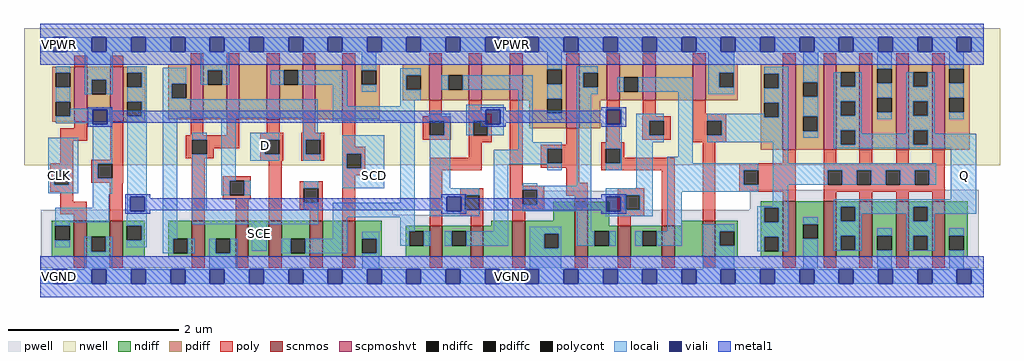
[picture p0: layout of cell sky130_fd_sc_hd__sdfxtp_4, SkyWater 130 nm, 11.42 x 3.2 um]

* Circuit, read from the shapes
.subckt sky130_fd_sc_hd__sdfxtp_4 CLK D SCD SCE VGND VNB VPB VPWR Q
XM1 VGND CLK n1 VNB sky130_fd_pr__nfet_01v8 w=0.42 l=0.15
XM2 n2 n1 VGND VNB sky130_fd_pr__nfet_01v8 w=0.42 l=0.15
XM3 VGND SCE n3 VNB sky130_fd_pr__nfet_01v8 w=0.42 l=0.15
XM4 n4 n3 VGND VNB sky130_fd_pr__nfet_01v8 w=0.42 l=0.15
XM5 n5 D n4 VNB sky130_fd_pr__nfet_01v8 w=0.42 l=0.15
XM6 n6 SCE n5 VNB sky130_fd_pr__nfet_01v8 w=0.42 l=0.15
XM7 VGND SCD n6 VNB sky130_fd_pr__nfet_01v8 w=0.42 l=0.15
XM8 n7 n1 n5 VNB sky130_fd_pr__nfet_01v8 w=0.36 l=0.15
XM9 n8 n2 n7 VNB sky130_fd_pr__nfet_01v8 w=0.36 l=0.15
XM10 VGND n9 n8 VNB sky130_fd_pr__nfet_01v8 w=0.42 l=0.15
XM11 n9 n7 VGND VNB sky130_fd_pr__nfet_01v8 w=0.64 l=0.15
XM12 n10 n2 n9 VNB sky130_fd_pr__nfet_01v8 w=0.36 l=0.15
XM13 n11 n1 n10 VNB sky130_fd_pr__nfet_01v8 w=0.36 l=0.15
XM14 VGND n12 n11 VNB sky130_fd_pr__nfet_01v8 w=0.42 l=0.15
XM15 VGND n10 n12 VNB sky130_fd_pr__nfet_01v8 w=0.65 l=0.15
XM16 Q n12 VGND VNB sky130_fd_pr__nfet_01v8 w=0.65 l=0.15 m=4
XM17 VPWR CLK n1 VPB sky130_fd_pr__pfet_01v8_hvt w=0.64 l=0.15
XM18 n2 n1 VPWR VPB sky130_fd_pr__pfet_01v8_hvt w=0.64 l=0.15
XM19 VPWR SCE n3 VPB sky130_fd_pr__pfet_01v8_hvt w=0.64 l=0.15
XM20 n13 SCE VPWR VPB sky130_fd_pr__pfet_01v8_hvt w=0.64 l=0.15
XM21 n5 D n13 VPB sky130_fd_pr__pfet_01v8_hvt w=0.64 l=0.15
XM22 n14 n3 n5 VPB sky130_fd_pr__pfet_01v8_hvt w=0.64 l=0.15
XM23 VPWR SCD n14 VPB sky130_fd_pr__pfet_01v8_hvt w=0.64 l=0.15
XM24 n7 n2 n5 VPB sky130_fd_pr__pfet_01v8_hvt w=0.42 l=0.15
XM25 n15 n1 n7 VPB sky130_fd_pr__pfet_01v8_hvt w=0.42 l=0.15
XM26 VPWR n9 n15 VPB sky130_fd_pr__pfet_01v8_hvt w=0.42 l=0.15
XM27 n9 n7 VPWR VPB sky130_fd_pr__pfet_01v8_hvt w=0.75 l=0.15
XM28 n10 n1 n9 VPB sky130_fd_pr__pfet_01v8_hvt w=0.42 l=0.15
XM29 n16 n2 n10 VPB sky130_fd_pr__pfet_01v8_hvt w=0.42 l=0.15
XM30 VPWR n12 n16 VPB sky130_fd_pr__pfet_01v8_hvt w=0.42 l=0.15
XM31 VPWR n10 n12 VPB sky130_fd_pr__pfet_01v8_hvt w=1 l=0.15
XM32 Q n12 VPWR VPB sky130_fd_pr__pfet_01v8_hvt w=1 l=0.15 m=4
.ends

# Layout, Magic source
magic
tech sky130A
magscale 1 2
<< nwell >>
rect -38 261 2246 582
<< pwell >>
rect 1175 157 1357 201
rect 1660 157 2196 203
rect 1 145 825 157
rect 1029 145 2196 157
rect 1 21 2196 145
rect 29 -17 63 21
<< scnmos >>
rect 79 47 109 131
rect 163 47 193 131
rect 355 47 385 131
rect 457 47 487 131
rect 535 47 565 131
rect 631 47 661 131
rect 707 47 737 131
rect 911 47 941 119
rect 1007 47 1037 119
rect 1105 47 1135 131
rect 1251 47 1281 175
rect 1352 47 1382 119
rect 1455 47 1485 119
rect 1550 47 1580 131
rect 1738 47 1768 177
rect 1833 47 1863 177
rect 1917 47 1947 177
rect 2003 47 2033 177
rect 2087 47 2117 177
<< scpmoshvt >>
rect 80 363 110 491
rect 164 363 194 491
rect 352 369 382 497
rect 436 369 466 497
rect 530 369 560 497
rect 614 369 644 497
rect 707 369 737 497
rect 910 413 940 497
rect 1003 413 1033 497
rect 1099 413 1129 497
rect 1231 347 1261 497
rect 1326 413 1356 497
rect 1410 413 1440 497
rect 1527 413 1557 497
rect 1738 297 1768 497
rect 1833 297 1863 497
rect 1917 297 1947 497
rect 2003 297 2033 497
rect 2087 297 2117 497
<< ndiff >>
rect 27 119 79 131
rect 27 85 35 119
rect 69 85 79 119
rect 27 47 79 85
rect 109 93 163 131
rect 109 59 119 93
rect 153 59 163 93
rect 109 47 163 59
rect 193 119 245 131
rect 193 85 203 119
rect 237 85 245 119
rect 193 47 245 85
rect 299 89 355 131
rect 299 55 311 89
rect 345 55 355 89
rect 299 47 355 55
rect 385 89 457 131
rect 385 55 411 89
rect 445 55 457 89
rect 385 47 457 55
rect 487 47 535 131
rect 565 89 631 131
rect 565 55 586 89
rect 620 55 631 89
rect 565 47 631 55
rect 661 47 707 131
rect 737 89 799 131
rect 1201 131 1251 175
rect 1055 119 1105 131
rect 737 55 753 89
rect 787 55 799 89
rect 737 47 799 55
rect 855 107 911 119
rect 855 73 863 107
rect 897 73 911 107
rect 855 47 911 73
rect 941 107 1007 119
rect 941 73 963 107
rect 997 73 1007 107
rect 941 47 1007 73
rect 1037 47 1105 119
rect 1135 101 1251 131
rect 1135 67 1179 101
rect 1213 67 1251 101
rect 1135 47 1251 67
rect 1281 119 1331 175
rect 1686 162 1738 177
rect 1500 119 1550 131
rect 1281 107 1352 119
rect 1281 73 1297 107
rect 1331 73 1352 107
rect 1281 47 1352 73
rect 1382 107 1455 119
rect 1382 73 1409 107
rect 1443 73 1455 107
rect 1382 47 1455 73
rect 1485 47 1550 119
rect 1580 107 1632 131
rect 1580 73 1590 107
rect 1624 73 1632 107
rect 1580 47 1632 73
rect 1686 128 1694 162
rect 1728 128 1738 162
rect 1686 94 1738 128
rect 1686 60 1694 94
rect 1728 60 1738 94
rect 1686 47 1738 60
rect 1768 123 1833 177
rect 1768 89 1785 123
rect 1819 89 1833 123
rect 1768 47 1833 89
rect 1863 164 1917 177
rect 1863 130 1873 164
rect 1907 130 1917 164
rect 1863 96 1917 130
rect 1863 62 1873 96
rect 1907 62 1917 96
rect 1863 47 1917 62
rect 1947 96 2003 177
rect 1947 62 1959 96
rect 1993 62 2003 96
rect 1947 47 2003 62
rect 2033 164 2087 177
rect 2033 130 2043 164
rect 2077 130 2087 164
rect 2033 96 2087 130
rect 2033 62 2043 96
rect 2077 62 2087 96
rect 2033 47 2087 62
rect 2117 96 2170 177
rect 2117 62 2127 96
rect 2161 62 2170 96
rect 2117 47 2170 62
<< pdiff >>
rect 28 477 80 491
rect 28 443 36 477
rect 70 443 80 477
rect 28 409 80 443
rect 28 375 36 409
rect 70 375 80 409
rect 28 363 80 375
rect 110 461 164 491
rect 110 427 120 461
rect 154 427 164 461
rect 110 363 164 427
rect 194 477 246 491
rect 194 443 204 477
rect 238 443 246 477
rect 194 409 246 443
rect 194 375 204 409
rect 238 375 246 409
rect 194 363 246 375
rect 300 452 352 497
rect 300 418 308 452
rect 342 418 352 452
rect 300 369 352 418
rect 382 483 436 497
rect 382 449 392 483
rect 426 449 436 483
rect 382 369 436 449
rect 466 369 530 497
rect 560 483 614 497
rect 560 449 570 483
rect 604 449 614 483
rect 560 369 614 449
rect 644 369 707 497
rect 737 483 794 497
rect 737 449 752 483
rect 786 449 794 483
rect 737 369 794 449
rect 848 472 910 497
rect 848 438 856 472
rect 890 438 910 472
rect 848 413 910 438
rect 940 472 1003 497
rect 940 438 955 472
rect 989 438 1003 472
rect 940 413 1003 438
rect 1033 413 1099 497
rect 1129 485 1231 497
rect 1129 451 1187 485
rect 1221 451 1231 485
rect 1129 417 1231 451
rect 1129 413 1187 417
rect 1144 383 1187 413
rect 1221 383 1231 417
rect 1144 347 1231 383
rect 1261 477 1326 497
rect 1261 443 1271 477
rect 1305 443 1326 477
rect 1261 413 1326 443
rect 1356 467 1410 497
rect 1356 433 1366 467
rect 1400 433 1410 467
rect 1356 413 1410 433
rect 1440 413 1527 497
rect 1557 477 1632 497
rect 1557 443 1589 477
rect 1623 443 1632 477
rect 1557 413 1632 443
rect 1686 475 1738 497
rect 1686 441 1694 475
rect 1728 441 1738 475
rect 1261 347 1311 413
rect 1686 407 1738 441
rect 1686 373 1694 407
rect 1728 373 1738 407
rect 1686 297 1738 373
rect 1768 455 1833 497
rect 1768 421 1785 455
rect 1819 421 1833 455
rect 1768 375 1833 421
rect 1768 341 1785 375
rect 1819 341 1833 375
rect 1768 297 1833 341
rect 1863 479 1917 497
rect 1863 445 1873 479
rect 1907 445 1917 479
rect 1863 411 1917 445
rect 1863 377 1873 411
rect 1907 377 1917 411
rect 1863 343 1917 377
rect 1863 309 1873 343
rect 1907 309 1917 343
rect 1863 297 1917 309
rect 1947 487 2003 497
rect 1947 453 1959 487
rect 1993 453 2003 487
rect 1947 419 2003 453
rect 1947 385 1959 419
rect 1993 385 2003 419
rect 1947 297 2003 385
rect 2033 479 2087 497
rect 2033 445 2043 479
rect 2077 445 2087 479
rect 2033 411 2087 445
rect 2033 377 2043 411
rect 2077 377 2087 411
rect 2033 343 2087 377
rect 2033 309 2043 343
rect 2077 309 2087 343
rect 2033 297 2087 309
rect 2117 487 2175 497
rect 2117 453 2127 487
rect 2161 453 2175 487
rect 2117 419 2175 453
rect 2117 385 2127 419
rect 2161 385 2175 419
rect 2117 297 2175 385
<< ndiffc >>
rect 35 85 69 119
rect 119 59 153 93
rect 203 85 237 119
rect 311 55 345 89
rect 411 55 445 89
rect 586 55 620 89
rect 753 55 787 89
rect 863 73 897 107
rect 963 73 997 107
rect 1179 67 1213 101
rect 1297 73 1331 107
rect 1409 73 1443 107
rect 1590 73 1624 107
rect 1694 128 1728 162
rect 1694 60 1728 94
rect 1785 89 1819 123
rect 1873 130 1907 164
rect 1873 62 1907 96
rect 1959 62 1993 96
rect 2043 130 2077 164
rect 2043 62 2077 96
rect 2127 62 2161 96
<< pdiffc >>
rect 36 443 70 477
rect 36 375 70 409
rect 120 427 154 461
rect 204 443 238 477
rect 204 375 238 409
rect 308 418 342 452
rect 392 449 426 483
rect 570 449 604 483
rect 752 449 786 483
rect 856 438 890 472
rect 955 438 989 472
rect 1187 451 1221 485
rect 1187 383 1221 417
rect 1271 443 1305 477
rect 1366 433 1400 467
rect 1589 443 1623 477
rect 1694 441 1728 475
rect 1694 373 1728 407
rect 1785 421 1819 455
rect 1785 341 1819 375
rect 1873 445 1907 479
rect 1873 377 1907 411
rect 1873 309 1907 343
rect 1959 453 1993 487
rect 1959 385 1993 419
rect 2043 445 2077 479
rect 2043 377 2077 411
rect 2043 309 2077 343
rect 2127 453 2161 487
rect 2127 385 2161 419
<< poly >>
rect 80 491 110 517
rect 164 491 194 517
rect 352 497 382 523
rect 436 497 466 523
rect 530 497 560 523
rect 614 497 644 523
rect 707 497 737 523
rect 910 497 940 523
rect 1003 497 1033 523
rect 1099 497 1129 523
rect 1231 497 1261 523
rect 1326 497 1356 523
rect 1410 497 1440 523
rect 1527 497 1557 523
rect 1738 497 1768 523
rect 1833 497 1863 523
rect 1917 497 1947 523
rect 2003 497 2033 523
rect 2087 497 2117 523
rect 910 375 940 413
rect 1003 381 1033 413
rect 80 348 110 363
rect 47 318 110 348
rect 47 265 77 318
rect 164 274 194 363
rect 352 331 382 369
rect 436 331 466 369
rect 530 337 560 369
rect 614 337 644 369
rect 340 321 466 331
rect 340 287 356 321
rect 390 301 466 321
rect 515 321 569 337
rect 390 287 406 301
rect 340 277 406 287
rect 515 287 525 321
rect 559 287 569 321
rect 23 249 77 265
rect 23 215 33 249
rect 67 215 77 249
rect 119 264 194 274
rect 119 230 135 264
rect 169 230 194 264
rect 119 220 194 230
rect 23 199 77 215
rect 47 176 77 199
rect 47 146 109 176
rect 79 131 109 146
rect 163 131 193 220
rect 355 131 385 277
rect 515 271 569 287
rect 611 321 665 337
rect 611 287 621 321
rect 655 287 665 321
rect 611 271 665 287
rect 707 304 737 369
rect 895 365 961 375
rect 895 331 911 365
rect 945 331 961 365
rect 895 321 961 331
rect 1003 365 1057 381
rect 1003 331 1013 365
rect 1047 331 1057 365
rect 1003 315 1057 331
rect 707 288 761 304
rect 427 225 493 235
rect 427 191 443 225
rect 477 191 493 225
rect 427 181 493 191
rect 457 131 487 181
rect 535 131 565 271
rect 707 254 717 288
rect 751 254 761 288
rect 1003 279 1033 315
rect 707 238 761 254
rect 911 249 1033 279
rect 607 207 661 223
rect 607 173 617 207
rect 651 173 661 207
rect 607 157 661 173
rect 631 131 661 157
rect 707 131 737 238
rect 911 119 941 249
rect 1099 213 1129 413
rect 1231 309 1261 347
rect 1326 315 1356 413
rect 1410 375 1440 413
rect 1527 381 1557 413
rect 1409 365 1475 375
rect 1409 331 1425 365
rect 1459 331 1475 365
rect 1409 321 1475 331
rect 1527 365 1605 381
rect 1527 331 1561 365
rect 1595 331 1605 365
rect 1527 315 1605 331
rect 1171 299 1261 309
rect 1171 265 1187 299
rect 1221 265 1261 299
rect 1171 255 1261 265
rect 1231 220 1261 255
rect 1313 299 1367 315
rect 1313 265 1323 299
rect 1357 279 1367 299
rect 1357 265 1485 279
rect 1313 249 1485 265
rect 983 191 1037 207
rect 983 157 993 191
rect 1027 157 1037 191
rect 1099 203 1179 213
rect 1099 183 1129 203
rect 983 141 1037 157
rect 1007 119 1037 141
rect 1105 169 1129 183
rect 1163 169 1179 203
rect 1231 190 1281 220
rect 1251 175 1281 190
rect 1352 191 1413 207
rect 1105 159 1179 169
rect 1105 131 1135 159
rect 1352 157 1369 191
rect 1403 157 1413 191
rect 1352 141 1413 157
rect 1352 119 1382 141
rect 1455 119 1485 249
rect 1550 131 1580 315
rect 1738 265 1768 297
rect 1636 249 1768 265
rect 1636 215 1646 249
rect 1680 215 1768 249
rect 1636 199 1768 215
rect 1738 177 1768 199
rect 1833 265 1863 297
rect 1917 265 1947 297
rect 2003 265 2033 297
rect 2087 265 2117 297
rect 1833 249 2117 265
rect 1833 215 1843 249
rect 1877 215 1911 249
rect 1945 215 1979 249
rect 2013 215 2047 249
rect 2081 215 2117 249
rect 1833 199 2117 215
rect 1833 177 1863 199
rect 1917 177 1947 199
rect 2003 177 2033 199
rect 2087 177 2117 199
rect 79 21 109 47
rect 163 21 193 47
rect 355 21 385 47
rect 457 21 487 47
rect 535 21 565 47
rect 631 21 661 47
rect 707 21 737 47
rect 911 21 941 47
rect 1007 21 1037 47
rect 1105 21 1135 47
rect 1251 21 1281 47
rect 1352 21 1382 47
rect 1455 21 1485 47
rect 1550 21 1580 47
rect 1738 21 1768 47
rect 1833 21 1863 47
rect 1917 21 1947 47
rect 2003 21 2033 47
rect 2087 21 2117 47
<< polycont >>
rect 356 287 390 321
rect 525 287 559 321
rect 33 215 67 249
rect 135 230 169 264
rect 621 287 655 321
rect 911 331 945 365
rect 1013 331 1047 365
rect 443 191 477 225
rect 717 254 751 288
rect 617 173 651 207
rect 1425 331 1459 365
rect 1561 331 1595 365
rect 1187 265 1221 299
rect 1323 265 1357 299
rect 993 157 1027 191
rect 1129 169 1163 203
rect 1369 157 1403 191
rect 1646 215 1680 249
rect 1843 215 1877 249
rect 1911 215 1945 249
rect 1979 215 2013 249
rect 2047 215 2081 249
<< locali >>
rect 0 527 29 561
rect 63 527 121 561
rect 155 527 213 561
rect 247 527 305 561
rect 339 527 397 561
rect 431 527 489 561
rect 523 527 581 561
rect 615 527 673 561
rect 707 527 765 561
rect 799 527 857 561
rect 891 527 949 561
rect 983 527 1041 561
rect 1075 527 1133 561
rect 1167 527 1225 561
rect 1259 527 1317 561
rect 1351 527 1409 561
rect 1443 527 1501 561
rect 1535 527 1593 561
rect 1627 527 1685 561
rect 1719 527 1777 561
rect 1811 527 1869 561
rect 1903 527 1961 561
rect 1995 527 2053 561
rect 2087 527 2145 561
rect 2179 527 2208 561
rect 36 477 70 493
rect 36 409 70 443
rect 104 461 170 527
rect 104 427 120 461
rect 154 427 170 461
rect 204 477 249 493
rect 238 443 249 477
rect 204 409 249 443
rect 70 391 169 393
rect 70 375 123 391
rect 36 359 123 375
rect 157 357 169 391
rect 19 249 89 325
rect 19 215 33 249
rect 67 215 89 249
rect 19 195 89 215
rect 123 264 169 357
rect 123 230 135 264
rect 123 194 169 230
rect 238 375 249 409
rect 123 161 162 194
rect 35 127 162 161
rect 204 187 249 375
rect 204 153 211 187
rect 245 153 249 187
rect 204 143 249 153
rect 35 119 69 127
rect 203 119 249 143
rect 35 69 69 85
rect 103 59 119 93
rect 153 59 169 93
rect 237 85 249 119
rect 203 69 249 85
rect 287 452 342 489
rect 287 418 308 452
rect 376 483 442 527
rect 752 483 786 527
rect 376 449 392 483
rect 426 449 442 483
rect 539 449 570 483
rect 604 449 718 483
rect 287 415 342 418
rect 287 372 650 415
rect 287 89 321 372
rect 356 321 390 337
rect 356 157 390 287
rect 424 225 458 372
rect 616 337 650 372
rect 684 399 718 449
rect 752 433 786 449
rect 843 472 890 488
rect 1187 485 1221 527
rect 843 438 856 472
rect 939 438 955 472
rect 989 438 1153 472
rect 843 413 890 438
rect 843 399 877 413
rect 684 365 877 399
rect 997 391 1085 402
rect 492 321 559 337
rect 492 287 525 321
rect 492 271 559 287
rect 616 321 655 337
rect 616 287 621 321
rect 616 271 655 287
rect 707 288 805 331
rect 707 254 717 288
rect 751 254 805 288
rect 424 191 443 225
rect 477 191 493 225
rect 617 207 651 223
rect 707 207 805 254
rect 843 173 877 365
rect 617 157 651 173
rect 356 123 651 157
rect 685 139 877 173
rect 911 365 959 381
rect 945 331 959 365
rect 997 365 1043 391
rect 997 331 1013 365
rect 1077 357 1085 391
rect 1047 331 1085 357
rect 911 207 959 331
rect 1119 315 1153 438
rect 1187 417 1221 451
rect 1187 367 1221 383
rect 1255 477 1305 493
rect 1255 443 1271 477
rect 1563 477 1624 527
rect 1255 427 1305 443
rect 1350 433 1366 467
rect 1400 433 1527 467
rect 1119 299 1221 315
rect 1119 297 1187 299
rect 1061 265 1187 297
rect 1061 263 1221 265
rect 911 191 1027 207
rect 911 187 993 191
rect 911 153 951 187
rect 985 157 993 187
rect 985 153 1027 157
rect 911 141 1027 153
rect 103 17 169 59
rect 287 55 311 89
rect 345 55 361 89
rect 395 55 411 89
rect 445 55 461 89
rect 495 61 530 123
rect 685 89 719 139
rect 843 107 877 139
rect 1061 107 1095 263
rect 1187 249 1221 263
rect 1129 213 1163 219
rect 1255 213 1289 427
rect 1323 391 1361 393
rect 1323 357 1325 391
rect 1359 357 1361 391
rect 1323 299 1361 357
rect 1357 265 1361 299
rect 1323 249 1361 265
rect 1395 365 1459 381
rect 1395 331 1425 365
rect 1395 315 1459 331
rect 1129 203 1289 213
rect 1395 207 1433 315
rect 1493 281 1527 433
rect 1563 443 1589 477
rect 1623 443 1624 477
rect 1563 427 1624 443
rect 1694 475 1751 491
rect 1728 441 1751 475
rect 1694 407 1751 441
rect 1561 373 1694 381
rect 1728 373 1751 407
rect 1561 365 1751 373
rect 1595 331 1751 365
rect 1561 315 1751 331
rect 1785 455 1821 527
rect 1959 487 1993 527
rect 1819 421 1821 455
rect 1785 375 1821 421
rect 1819 341 1821 375
rect 1785 325 1821 341
rect 1857 445 1873 479
rect 1907 445 1923 479
rect 1857 411 1923 445
rect 1857 377 1873 411
rect 1907 377 1923 411
rect 1857 343 1923 377
rect 2127 487 2161 527
rect 1959 419 1993 453
rect 1959 369 1993 385
rect 2027 445 2043 479
rect 2077 445 2093 479
rect 2027 411 2093 445
rect 2027 377 2043 411
rect 2077 377 2093 411
rect 1163 169 1289 203
rect 1129 153 1289 169
rect 564 55 586 89
rect 620 55 719 89
rect 753 89 793 105
rect 787 55 793 89
rect 843 73 863 107
rect 897 73 913 107
rect 947 73 963 107
rect 997 73 1095 107
rect 1145 101 1219 117
rect 395 17 461 55
rect 753 17 793 55
rect 1145 67 1179 101
rect 1213 67 1219 101
rect 1255 107 1289 153
rect 1323 191 1433 207
rect 1323 187 1369 191
rect 1323 153 1325 187
rect 1359 157 1369 187
rect 1403 157 1433 191
rect 1359 153 1433 157
rect 1323 141 1433 153
rect 1467 265 1527 281
rect 1714 265 1751 315
rect 1857 309 1873 343
rect 1907 335 1923 343
rect 2027 343 2093 377
rect 2127 419 2161 453
rect 2127 369 2161 385
rect 2027 335 2043 343
rect 1907 309 2043 335
rect 2077 335 2093 343
rect 2077 309 2191 335
rect 1857 301 2191 309
rect 1467 249 1680 265
rect 1467 215 1646 249
rect 1467 199 1680 215
rect 1714 249 2097 265
rect 1714 215 1843 249
rect 1877 215 1911 249
rect 1945 215 1979 249
rect 2013 215 2047 249
rect 2081 215 2097 249
rect 1467 107 1501 199
rect 1714 165 1750 215
rect 2131 181 2191 301
rect 1678 162 1750 165
rect 1678 128 1694 162
rect 1728 128 1750 162
rect 1857 164 2191 181
rect 1255 73 1297 107
rect 1331 73 1347 107
rect 1393 73 1409 107
rect 1443 73 1501 107
rect 1550 107 1624 123
rect 1550 73 1590 107
rect 1145 17 1219 67
rect 1550 17 1624 73
rect 1678 94 1750 128
rect 1678 60 1694 94
rect 1728 60 1750 94
rect 1785 123 1819 139
rect 1785 17 1819 89
rect 1857 130 1873 164
rect 1907 147 2043 164
rect 1907 130 1923 147
rect 1857 96 1923 130
rect 2027 130 2043 147
rect 2077 147 2191 164
rect 2077 130 2093 147
rect 1857 62 1873 96
rect 1907 62 1923 96
rect 1857 61 1923 62
rect 1959 96 1993 113
rect 1959 17 1993 62
rect 2027 96 2093 130
rect 2027 62 2043 96
rect 2077 62 2093 96
rect 2027 61 2093 62
rect 2127 96 2161 113
rect 2127 17 2161 62
rect 0 -17 29 17
rect 63 -17 121 17
rect 155 -17 213 17
rect 247 -17 305 17
rect 339 -17 397 17
rect 431 -17 489 17
rect 523 -17 581 17
rect 615 -17 673 17
rect 707 -17 765 17
rect 799 -17 857 17
rect 891 -17 949 17
rect 983 -17 1041 17
rect 1075 -17 1133 17
rect 1167 -17 1225 17
rect 1259 -17 1317 17
rect 1351 -17 1409 17
rect 1443 -17 1501 17
rect 1535 -17 1593 17
rect 1627 -17 1685 17
rect 1719 -17 1777 17
rect 1811 -17 1869 17
rect 1903 -17 1961 17
rect 1995 -17 2053 17
rect 2087 -17 2145 17
rect 2179 -17 2208 17
<< viali >>
rect 29 527 63 561
rect 121 527 155 561
rect 213 527 247 561
rect 305 527 339 561
rect 397 527 431 561
rect 489 527 523 561
rect 581 527 615 561
rect 673 527 707 561
rect 765 527 799 561
rect 857 527 891 561
rect 949 527 983 561
rect 1041 527 1075 561
rect 1133 527 1167 561
rect 1225 527 1259 561
rect 1317 527 1351 561
rect 1409 527 1443 561
rect 1501 527 1535 561
rect 1593 527 1627 561
rect 1685 527 1719 561
rect 1777 527 1811 561
rect 1869 527 1903 561
rect 1961 527 1995 561
rect 2053 527 2087 561
rect 2145 527 2179 561
rect 123 357 157 391
rect 211 153 245 187
rect 1043 365 1077 391
rect 1043 357 1047 365
rect 1047 357 1077 365
rect 951 153 985 187
rect 1325 357 1359 391
rect 1325 153 1359 187
rect 29 -17 63 17
rect 121 -17 155 17
rect 213 -17 247 17
rect 305 -17 339 17
rect 397 -17 431 17
rect 489 -17 523 17
rect 581 -17 615 17
rect 673 -17 707 17
rect 765 -17 799 17
rect 857 -17 891 17
rect 949 -17 983 17
rect 1041 -17 1075 17
rect 1133 -17 1167 17
rect 1225 -17 1259 17
rect 1317 -17 1351 17
rect 1409 -17 1443 17
rect 1501 -17 1535 17
rect 1593 -17 1627 17
rect 1685 -17 1719 17
rect 1777 -17 1811 17
rect 1869 -17 1903 17
rect 1961 -17 1995 17
rect 2053 -17 2087 17
rect 2145 -17 2179 17
<< metal1 >>
rect 0 561 2208 592
rect 0 527 29 561
rect 63 527 121 561
rect 155 527 213 561
rect 247 527 305 561
rect 339 527 397 561
rect 431 527 489 561
rect 523 527 581 561
rect 615 527 673 561
rect 707 527 765 561
rect 799 527 857 561
rect 891 527 949 561
rect 983 527 1041 561
rect 1075 527 1133 561
rect 1167 527 1225 561
rect 1259 527 1317 561
rect 1351 527 1409 561
rect 1443 527 1501 561
rect 1535 527 1593 561
rect 1627 527 1685 561
rect 1719 527 1777 561
rect 1811 527 1869 561
rect 1903 527 1961 561
rect 1995 527 2053 561
rect 2087 527 2145 561
rect 2179 527 2208 561
rect 0 496 2208 527
rect 111 391 169 397
rect 111 357 123 391
rect 157 388 169 391
rect 1031 391 1089 397
rect 1031 388 1043 391
rect 157 360 1043 388
rect 157 357 169 360
rect 111 351 169 357
rect 1031 357 1043 360
rect 1077 388 1089 391
rect 1313 391 1371 397
rect 1313 388 1325 391
rect 1077 360 1325 388
rect 1077 357 1089 360
rect 1031 351 1089 357
rect 1313 357 1325 360
rect 1359 357 1371 391
rect 1313 351 1371 357
rect 199 187 257 193
rect 199 153 211 187
rect 245 184 257 187
rect 939 187 997 193
rect 939 184 951 187
rect 245 156 951 184
rect 245 153 257 156
rect 199 147 257 153
rect 939 153 951 156
rect 985 184 997 187
rect 1313 187 1371 193
rect 1313 184 1325 187
rect 985 156 1325 184
rect 985 153 997 156
rect 939 147 997 153
rect 1313 153 1325 156
rect 1359 153 1371 187
rect 1313 147 1371 153
rect 0 17 2208 48
rect 0 -17 29 17
rect 63 -17 121 17
rect 155 -17 213 17
rect 247 -17 305 17
rect 339 -17 397 17
rect 431 -17 489 17
rect 523 -17 581 17
rect 615 -17 673 17
rect 707 -17 765 17
rect 799 -17 857 17
rect 891 -17 949 17
rect 983 -17 1041 17
rect 1075 -17 1133 17
rect 1167 -17 1225 17
rect 1259 -17 1317 17
rect 1351 -17 1409 17
rect 1443 -17 1501 17
rect 1535 -17 1593 17
rect 1627 -17 1685 17
rect 1719 -17 1777 17
rect 1811 -17 1869 17
rect 1903 -17 1961 17
rect 1995 -17 2053 17
rect 2087 -17 2145 17
rect 2179 -17 2208 17
rect 0 -48 2208 -17
<< labels >>
flabel metal1 s 29 -17 63 17 0 FreeSans 200 0 0 0 VGND
port 5 nsew ground bidirectional abutment
flabel metal1 s 29 527 63 561 0 FreeSans 200 0 0 0 VPWR
port 8 nsew power bidirectional abutment
flabel locali s 765 221 799 255 0 FreeSans 300 0 0 0 SCD
port 3 nsew signal input
flabel locali s 510 289 544 323 0 FreeSans 300 0 0 0 D
port 2 nsew signal input
flabel locali s 495 85 529 119 0 FreeSans 300 0 0 0 SCE
port 4 nsew signal input
flabel locali s 29 221 63 255 0 FreeSans 400 0 0 0 CLK
port 1 nsew clock input
flabel locali s 2145 221 2179 255 0 FreeSans 300 0 0 0 Q
port 9 nsew signal output
flabel pwell s 29 -17 63 17 0 FreeSans 200 0 0 0 VNB
port 6 nsew ground bidirectional
flabel pwell s 46 0 46 0 0 FreeSans 200 0 0 0 VNB
flabel nwell s 29 527 63 561 0 FreeSans 200 0 0 0 VPB
port 7 nsew power bidirectional
flabel nwell s 46 544 46 544 0 FreeSans 200 0 0 0 VPB
rlabel comment s 0 0 0 0 4 sdfxtp_4
rlabel metal1 s 0 -48 2208 48 1 VGND
port 5 nsew ground bidirectional abutment
rlabel metal1 s 0 496 2208 592 1 VPWR
port 8 nsew power bidirectional abutment
<< properties >>
string FIXED_BBOX 0 0 2208 544
string GDS_END 408676
string GDS_FILE $PDKPATH/libs.ref/sky130_fd_sc_hd/gds/sky130_fd_sc_hd.gds
string GDS_START 392218
string LEFclass CORE
string LEFsite unithd
string LEFsymmetry X Y R90
string path 0.000 0.000 11.040 0.000 
<< end >>
